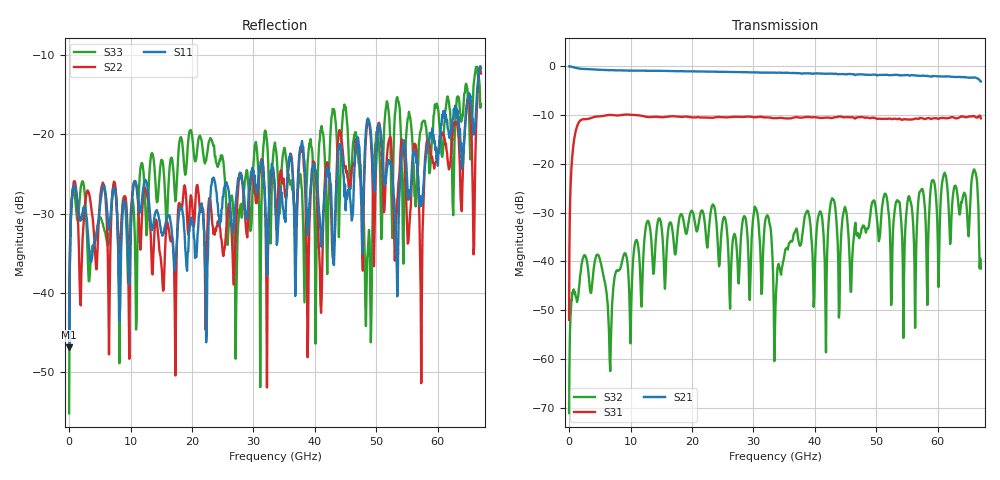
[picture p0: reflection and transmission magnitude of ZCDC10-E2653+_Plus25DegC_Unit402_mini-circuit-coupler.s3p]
!Created: 12-31-2019 at 14:30:12
!Mini-Circuits
!S3P DATA File Format
!Type: DIRECTIONAL COUPLER
!Port 1: Input; Port 2: Output; Port 3: Couple
!TEST CONDITIONS: Z:50 OHM SYSTEM, INPUT POWER = -10dBm, TEMP:25°C
!MODEL: ZCDC10-E2653+
!S/N: 402_25C
# MHZ S DB R 50
!Frequency
!  S11 dB  S11 DEG  S12 dB  S12 DEG  S13 dB  S13 DEG
!  S21 dB  S21 DEG  S22 dB  S22 DEG  S23 dB  S23 DEG
!  S31 dB  S31 DEG  S32 dB  S32 DEG  S33 dB  S33 DEG
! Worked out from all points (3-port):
!   760 points, 10 MHz to 67 GHz, reference 50 ohm
!   strongest paths, dB at 10 MHz, 10.1 GHz, 29.1 GHz, 48.1 GHz, 67 GHz:
!     S21: -0.1, -0.9, -1.3, -1.8, -3.2
!     S31: -52.0, -10.0, -10.4, -10.6, -10.7
!     S32: -69.0, -50.1, -36.5, -33.2, -41.5
!   lowest |S11| = -46.9 dB at 20 MHz (marker M1), VSWR 1.01, Z = 50.4 + j0.135 ohm
!   |S11| at or under -10 dB: start of sweep to end of sweep
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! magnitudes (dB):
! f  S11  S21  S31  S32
! 10 MHz  -42.1  -0.1  -52.0  -69.0
! 20 MHz  -46.9  0.0  -46.1  -71.1
! 430 MHz  -28.5  -0.2  -20.1  -48.0
! 1.9 GHz  -30.5  -0.6  -11.1  -42.2
! 30.4 GHz  -26.4  -1.3  -10.5  -29.1
! 33.6 GHz  -30.0  -1.4  -10.6  -48.5
! 44.9 GHz  -26.3  -1.7  -10.5  -28.8
! 48.4 GHz  -18.7  -1.8  -10.5  -33.3
! 57.3 GHz  -29.0  -2.0  -10.7  -25.4
! 67 GHz  -11.6  -3.2  -10.7  -41.5
